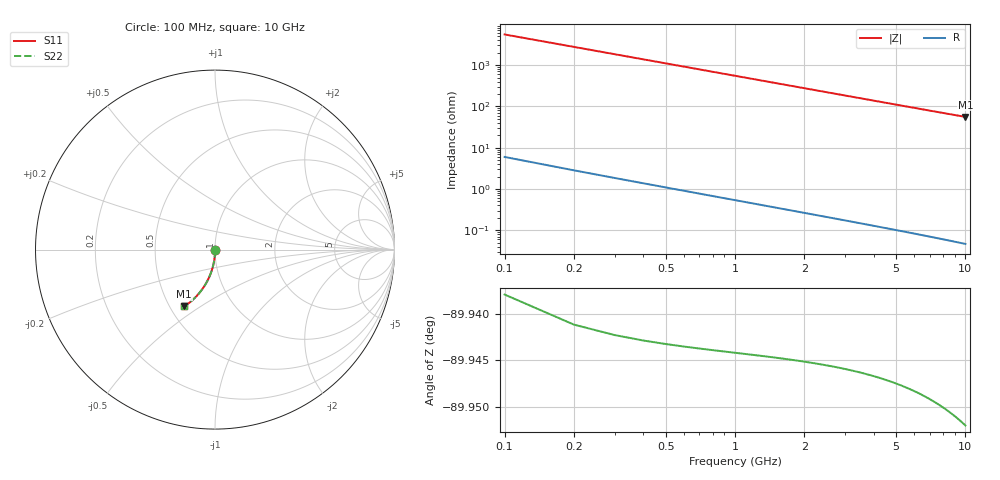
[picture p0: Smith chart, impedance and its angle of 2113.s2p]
# Hz S RI R 50.00
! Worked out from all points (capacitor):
!   100 points, 100 MHz to 10 GHz, reference 50 ohm
!   read as one part in shunt: C = 289 fF near 100 MHz
!   lowest |Z| = 55.7 ohm at 10 GHz (marker M1)
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1e8  0.000302 -0.00391  0.9996 -0.00517  0.9996 -0.00517  0.000302 -0.00391
2e8  0.000239 -0.00781  0.9996 -0.0103  0.9996 -0.0103  0.000239 -0.00781
3e8  0.000136 -0.0117  0.9995 -0.0155  0.9995 -0.0155  0.000136 -0.0117
4e8  -8.66e-06 -0.0156  0.9993 -0.0207  0.9993 -0.0207  -8.66e-06 -0.0156
5e8  -0.000194 -0.0195  0.9991 -0.0258  0.9991 -0.0258  -0.000194 -0.0195
6e8  -0.000419 -0.0234  0.9989 -0.031  0.9989 -0.031  -0.000419 -0.0234
7e8  -0.000684 -0.0273  0.9986 -0.0362  0.9986 -0.0362  -0.000684 -0.0273
8e8  -0.00099 -0.0312  0.9983 -0.0413  0.9983 -0.0413  -0.00099 -0.0312
9e8  -0.00134 -0.0351  0.9979 -0.0465  0.9979 -0.0465  -0.00134 -0.0351
1.1e9  -0.00215 -0.0428  0.9971 -0.0568  0.9971 -0.0568  -0.00215 -0.0428
1.4e9  -0.00367 -0.0544  0.9955 -0.0722  0.9955 -0.0722  -0.00367 -0.0544
1.8e9  -0.00625 -0.0698  0.9928 -0.0926  0.9928 -0.0926  -0.00625 -0.0698
2.1e9  -0.00859 -0.0813  0.9904 -0.1078  0.9904 -0.1078  -0.00859 -0.0813
2.5e9  -0.0123 -0.0963  0.9865 -0.128  0.9865 -0.128  -0.0123 -0.0963
2.9e9  -0.0165 -0.1112  0.9821 -0.148  0.9821 -0.148  -0.0165 -0.1112
3.4e9  -0.0227 -0.1295  0.9757 -0.1726  0.9757 -0.1726  -0.0227 -0.1295
4.2e9  -0.0344 -0.1579  0.9634 -0.2112  0.9634 -0.2112  -0.0344 -0.1579
5.1e9  -0.0502 -0.1884  0.947 -0.2531  0.947 -0.2531  -0.0502 -0.1884
5.9e9  -0.0663 -0.2138  0.9302 -0.2889  0.9302 -0.2889  -0.0663 -0.2138
6.7e9  -0.0841 -0.2377  0.9115 -0.323  0.9115 -0.323  -0.0841 -0.2377
8.4e9  -0.1269 -0.2824  0.8665 -0.3896  0.8665 -0.3896  -0.1269 -0.2824
1e10  -0.1717 -0.3165  0.8192 -0.4446  0.8192 -0.4446  -0.1717 -0.3165
